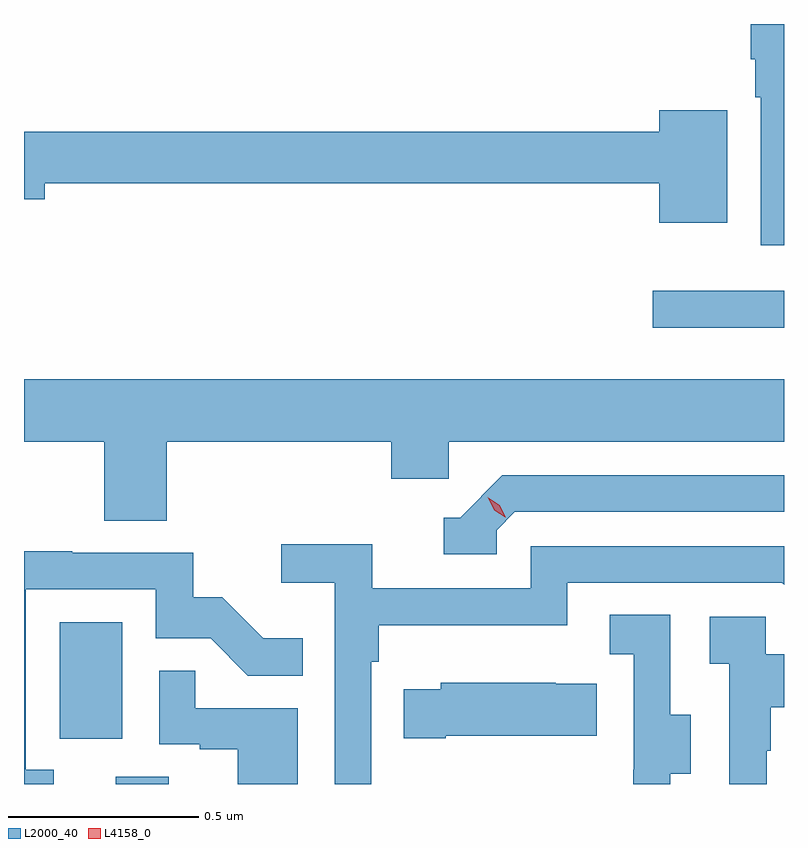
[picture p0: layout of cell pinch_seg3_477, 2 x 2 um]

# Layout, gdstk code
import gdstk
lib = gdstk.Library(unit=1e-6, precision=1e-09)
def R(c, l, rs):  # rectangles x0, y0, x1, y1
    for r in rs: c.add(gdstk.rectangle(r[:2], r[2:], *l))
def P(c, l, *ps):  # polygons
    for p in ps: c.add(gdstk.Polygon(p, *l))
L2000_40 = (2000, 40)
L4158_0 = (4158, 0)

pinch_seg3_477 = lib.new_cell('pinch_seg3_477')
R(pinch_seg3_477, L2000_40, [(913.163,681.367,913.303,681.386), (913.016,681.486,913.18,681.793), (914.577,682.568,914.922,682.665)])
P(pinch_seg3_477, L2000_40, [(914.922,683.367),(914.834,683.367),(914.834,683.274),(914.846,683.274),(914.846,683.174),(914.861,683.174),(914.861,682.785),(914.922,682.785)],
  [(914.773,683.14),(914.594,683.14),(914.594,683.084),(912.922,683.084),(912.922,682.906),(912.976,682.906),(912.976,682.948),(914.594,682.948),(914.594,682.844),(914.773,682.844)],
  [(913.298,682.268),(913.889,682.268),(913.889,682.17),(914.04,682.17),(914.04,682.268),(914.922,682.268),(914.922,682.432),(912.922,682.432),(912.922,682.268),(913.133,682.268),(913.133,682.06),(913.298,682.06)],
  [(914.166,682.035),(914.214,682.083),(914.922,682.083),(914.922,682.179),(914.181,682.179),(914.07,682.068),(914.027,682.068),(914.027,681.972),(914.166,681.972)],
  [(913.836,681.689),(913.856,681.689),(913.856,681.785),(914.352,681.785),(914.352,681.897),(914.916,681.897),(914.922,681.891),(914.922,681.993),(914.256,681.993),(914.256,681.882),(913.838,681.882),(913.838,681.998),(913.599,681.998),(913.599,681.896),(913.74,681.896),(913.74,681.367),(913.836,681.367)],
  [(913,681.405),(912.927,681.405),(912.927,681.879),(913.269,681.879),(913.269,681.75),(913.413,681.75),(913.511,681.652),(913.655,681.652),(913.655,681.751),(913.551,681.751),(913.444,681.858),(913.368,681.858),(913.368,681.975),(913.049,681.975),(913.049,681.98),(912.922,681.98),(912.922,681.367),(913,681.367)],
  [(914.623,681.394),(914.677,681.394),(914.677,681.549),(914.622,681.549),(914.622,681.812),(914.463,681.812),(914.463,681.709),(914.526,681.709),(914.526,681.405),(914.525,681.405),(914.525,681.367),(914.623,681.367)],
  [(914.877,681.455),(914.887,681.455),(914.887,681.569),(914.922,681.569),(914.922,681.709),(914.874,681.709),(914.874,681.807),(914.727,681.807),(914.727,681.683),(914.778,681.683),(914.778,681.367),(914.877,681.367)],
  [(913.642,681.567),(913.373,681.567),(913.373,681.665),(913.278,681.665),(913.278,681.471),(913.385,681.471),(913.385,681.459),(913.484,681.459),(913.484,681.367),(913.642,681.367)],
  [(914.032,681.494),(914.429,681.494),(914.429,681.631),(914.321,681.631),(914.321,681.634),(914.019,681.634),(914.019,681.616),(913.921,681.616),(913.921,681.487),(914.032,681.487)])
P(pinch_seg3_477, L4158_0, [(914.189,682.069),(914.159,682.088),(914.143,682.121),(914.143,682.121),(914.143,682.121),(914.174,682.101),(914.19,682.069),(914.19,682.069)])

lib.write_gds('pinch_seg3_477.gds')
